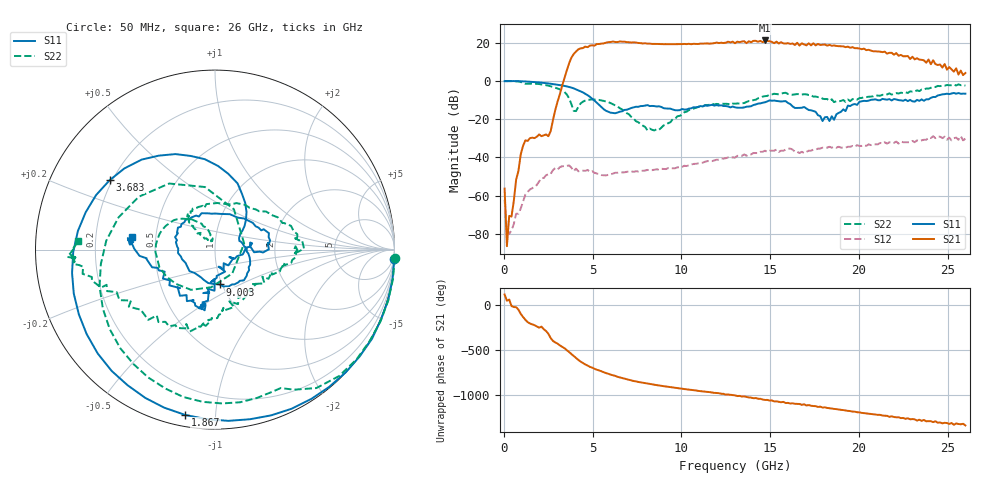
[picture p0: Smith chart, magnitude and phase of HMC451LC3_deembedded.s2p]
!Hittite Microwave Corporation
!20 Alpha Road
!Chelmsford, MA 01824
!Tel: 978-250-3343
!Fax: 978-250-3373
!Device: HMC451LC3, 5-20 GHz, GaAs PHEMT MMIC Driver Amplifier in leadless "Pb free" RoHS compliant SMT package
!Misc: +5V, Room
# MHZ S MA R 50
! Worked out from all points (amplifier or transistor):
!   201 points, 50 MHz to 26 GHz, reference 50 ohm
!   highest |S21| = 21.4 dB at 14.71 GHz (marker M1)
!   |S21| within 3 dB of that: 4.808 GHz to 18.86 GHz (14.05 GHz wide, 119 % of centre)
!   unconditionally stable (mu >= 1): 827.7 MHz to end of sweep
!   at 4.332 GHz: K = 10.31, MAG = 19.0 dB, |S12| = -47.0 dB
!   at 13.03 GHz: K = 4.62, MAG = 20.4 dB, |S12| = -40.1 dB
!   at 26 GHz: K = 2.88, MAG = 9.8 dB, |S12| = -30.2 dB
!   S11 on the Smith chart (normalised r, x): 50 MHz: -0, -38; 1.867 GHz: 0.06, -0.83; 3.683 GHz: 0.19, +0.29; 9.003 GHz: 0.98, -0.39; 26 GHz: 0.36, +0.06
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50  1 -3.0  0.001517 120.3  0.0007737 -30.7  1.003 -2.6
1866.5  0.936 -100.2  0.035 124.0  0.001895 -144.6  0.851 -94.6
3293.75  0.771 172.3  0.769 -103.1  0.005857 148.9  0.567 161.6
3683  0.703 146.7  2.942 -162.1  0.00616 125.1  0.353 99.1
4072.25  0.61 120.9  6.001 130.8  0.005076 118.2  0.164 -54.0
4461.5  0.507 96.5  7.374 75.3  0.00449 128.0  0.29 -139.0
5240  0.273 49.9  9.418 1.3  0.003767 120.1  0.325 169.4
5888.75  0.158 29.0  10.56 -43.9  0.003485 137.7  0.282 144.4
6537.5  0.158 11.9  11 -85.2  0.004057 144.9  0.195 124.8
7316  0.205 -17.5  10.45 -125.2  0.004208 153.0  0.104 108.1
8743.25  0.219 -69.7  9.415 -174.9  0.004727 166.7  0.053 119.7
9002.75  0.196 -82.1  9.352 177.4  0.004984 171.3  0.069 125.2
11078.75  0.222 169.1  9.653 122.1  0.007148 -168.3  0.225 130.9
12635.75  0.217 119.1  10.88 84.4  0.009998 -158.3  0.253 105.4
13025  0.206 101.1  9.883 74.8  0.009878 -157.5  0.257 93.8
13544  0.205 75.4  11.2 63.8  0.012 -155.1  0.267 70.5
14711.75  0.279 22.6  11.7 23.3  0.015 -154.0  0.404 21.5
17436.5  0.165 -2.6  9.879 -44.3  0.016 -143.3  0.393 -13.1
19382.75  0.229 -90.7  8.038 -98.3  0.019 -143.6  0.33 -67.0
21718.25  0.339 -105.0  5.547 -164.9  0.025 -142.5  0.479 -107.3
23275.25  0.323 -142.0  3.993 152.9  0.028 -132.4  0.576 -146.5
26000  0.469 171.6  1.638 98.7  0.031 -122.0  0.763 176.5
